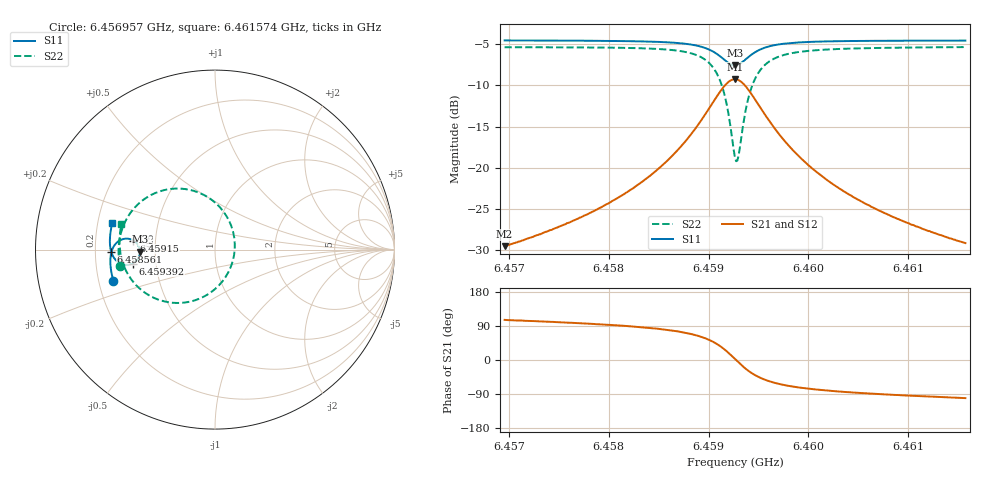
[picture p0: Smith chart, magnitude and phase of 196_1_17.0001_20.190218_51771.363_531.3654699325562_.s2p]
#  HZ  S  RI  R  50.00
! Rohde & Schwarz Vector Network Analyzer
! Rohde-Schwarz,ZNB20-2Port,1311601062101988,3.16
! Created: UTC 3/20/2024, 11:00:51 PM
! freq[Hz]  re:S11  im:S11  re:S21  im:S21  re:S12  im:S12  re:S22  im:S22
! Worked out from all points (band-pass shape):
!   401 points, 6.456957 GHz to 6.461574 GHz, reference 50 ohm
!   highest |S21| = -9.25 dB at 6.459265 GHz (marker M1); lowest = -29.5 dB at 6.456957 GHz (marker M2)
!   |S21| within 3 dB of the highest: 6.459034 GHz to 6.459496 GHz (461.3 kHz wide, 0.00714 % of centre)
!   lowest |S11| = -7.6 dB at 6.459265 GHz (marker M3), VSWR 2.44, Z = 20.5 - j0.606 ohm
!   |S11| at or under -10 dB: nowhere
!   |S22| runs from -19.2 to -5.4 dB; largest |S21 - S12| = 0.013
!   S11 on the Smith chart (normalised r, x): 6.456957 GHz: 0.26, -0.14; 6.458561 GHz: 0.27, -0.01; 6.45915 GHz: 0.37, +0.05; 6.459392 GHz: 0.37, -0.07; 6.461574 GHz: 0.26, +0.12
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6.4569573e9  -0.5657 -0.1748  -0.00922 0.0323  -0.00733 0.0323  -0.531 -0.0893
6.4577305e9  -0.5802 -0.1074  -0.00604 0.0501  -0.00333 0.0495  -0.5371 0.00105
6.4581691e9  -0.5832 -0.0634  0.000241 0.0705  0.00348 0.0692  -0.5292 0.0706
6.4585038e9  -0.5797 -0.0233  0.0137 0.0985  0.0176 0.0959  -0.5047 0.1463
6.4585615e9  -0.5779 -0.0153  0.0179 0.1055  0.0221 0.1025  -0.4966 0.163
6.4587692e9  -0.5649 0.0168  0.0453 0.1379  0.0494 0.1331  -0.4456 0.2358
6.4589192e9  -0.5424 0.0431  0.0903 0.1686  0.0937 0.162  -0.3627 0.3007
6.4590577e9  -0.4986 0.0609  0.1774 0.1855  0.1784 0.1782  -0.2038 0.3401
6.45915e9  -0.4541 0.0507  0.2674 0.1546  0.2676 0.1486  -0.0376 0.2904
6.4592193e9  -0.4251 0.0188  0.328 0.0829  0.3299 0.0776  0.0779 0.1616
6.4592654e9  -0.4181 -0.0122  0.3443 0.0152  0.3478 0.00824  0.1099 0.0353
6.4592885e9  -0.4198 -0.0281  0.3422 -0.02  0.3461 -0.0284  0.1061 -0.0314
6.4593001e9  -0.422 -0.0359  0.3385 -0.0372  0.3424 -0.0463  0.099 -0.0638
6.4593462e9  -0.4376 -0.0618  0.3102 -0.0969  0.3124 -0.1086  0.0418 -0.1764
6.4593924e9  -0.4595 -0.078  0.2683 -0.1377  0.2677 -0.1509  -0.0427 -0.251
6.4594847e9  -0.5029 -0.0848  0.1839 -0.169  0.1781 -0.1805  -0.2103 -0.2973
6.4596347e9  -0.5466 -0.0644  0.0967 -0.1556  0.0883 -0.1617  -0.377 -0.2489
6.4597963e9  -0.5681 -0.0368  0.0517 -0.128  0.0442 -0.1308  -0.4574 -0.1776
6.4600387e9  -0.581 -0.00131  0.0227 -0.0968  0.0169 -0.0973  -0.5059 -0.0956
6.4603964e9  -0.5857 0.0408  0.00636 -0.0695  0.00231 -0.069  -0.5279 -0.0146
6.4608119e9  -0.5838 0.0826  -0.0012 -0.0518  -0.00408 -0.0509  -0.5321 0.0514
6.4615736e9  -0.5717 0.1499  -0.00644 -0.0345  -0.0081 -0.0336  -0.5211 0.1411
